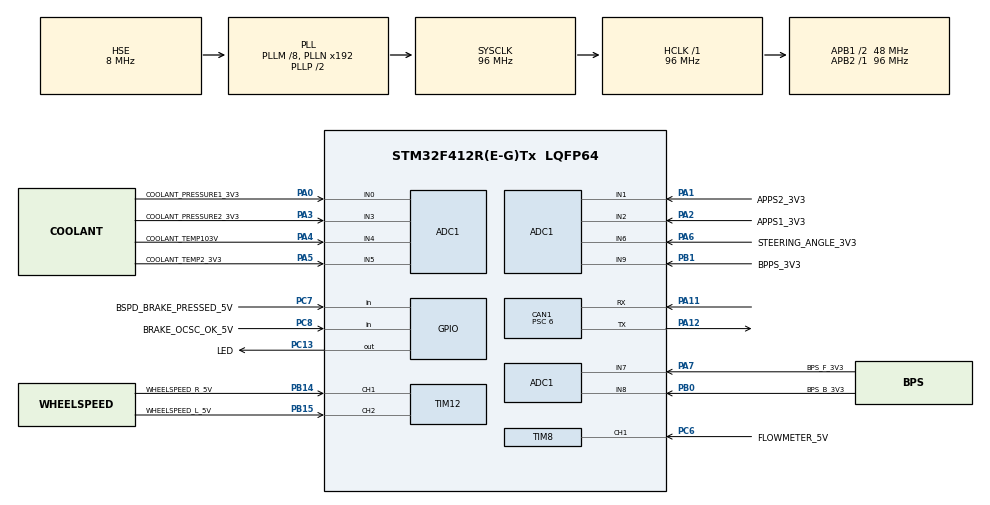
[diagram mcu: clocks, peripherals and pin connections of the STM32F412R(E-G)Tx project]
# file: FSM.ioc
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ADC1.Channel-0\#ChannelRegularConversion=ADC_CHANNEL_0
ADC1.Channel-1\#ChannelRegularConversion=ADC_CHANNEL_1
ADC1.Channel-2\#ChannelRegularConversion=ADC_CHANNEL_2
ADC1.Channel-3\#ChannelRegularConversion=ADC_CHANNEL_3
ADC1.Channel-4\#ChannelRegularConversion=ADC_CHANNEL_4
ADC1.Channel-5\#ChannelRegularConversion=ADC_CHANNEL_5
ADC1.Channel-6\#ChannelRegularConversion=ADC_CHANNEL_6
ADC1.Channel-7\#ChannelRegularConversion=ADC_CHANNEL_7
ADC1.Channel-8\#ChannelRegularConversion=ADC_CHANNEL_8
ADC1.Channel-9\#ChannelRegularConversion=ADC_CHANNEL_9
ADC1.DMAContinuousRequests=ENABLE
ADC1.ExternalTrigConv=ADC_EXTERNALTRIGCONV_T3_TRGO
ADC1.NbrOfConversion=10
ADC1.NbrOfConversionFlag=1
ADC1.Rank-0\#ChannelRegularConversion=1
ADC1.Rank-1\#ChannelRegularConversion=2
ADC1.Rank-2\#ChannelRegularConversion=3
ADC1.Rank-3\#ChannelRegularConversion=4
ADC1.Rank-4\#ChannelRegularConversion=5
ADC1.Rank-5\#ChannelRegularConversion=6
ADC1.Rank-6\#ChannelRegularConversion=7
ADC1.Rank-7\#ChannelRegularConversion=8
ADC1.Rank-8\#ChannelRegularConversion=9
ADC1.Rank-9\#ChannelRegularConversion=10
ADC1.SamplingTime-0\#ChannelRegularConversion=ADC_SAMPLETIME_3CYCLES
ADC1.SamplingTime-1\#ChannelRegularConversion=ADC_SAMPLETIME_3CYCLES
ADC1.SamplingTime-2\#ChannelRegularConversion=ADC_SAMPLETIME_3CYCLES
ADC1.SamplingTime-3\#ChannelRegularConversion=ADC_SAMPLETIME_3CYCLES
ADC1.SamplingTime-4\#ChannelRegularConversion=ADC_SAMPLETIME_3CYCLES
ADC1.SamplingTime-5\#ChannelRegularConversion=ADC_SAMPLETIME_3CYCLES
ADC1.SamplingTime-6\#ChannelRegularConversion=ADC_SAMPLETIME_3CYCLES
ADC1.SamplingTime-7\#ChannelRegularConversion=ADC_SAMPLETIME_3CYCLES
ADC1.SamplingTime-8\#ChannelRegularConversion=ADC_SAMPLETIME_3CYCLES
ADC1.SamplingTime-9\#ChannelRegularConversion=ADC_SAMPLETIME_3CYCLES
ADC1.master=1
CAN1.ABOM=ENABLE
CAN1.BS1=CAN_BS1_13TQ
CAN1.BS2=CAN_BS2_2TQ
CAN1.CalculateBaudRate=500000
CAN1.CalculateTimeBit=2000
CAN1.CalculateTimeQuantum=125.0
CAN1.NART=ENABLE
CAN1.Prescaler=6
CAN1.RFLM=ENABLE
CAN1.SJW=CAN_SJW_4TQ
CAN1.TXFP=ENABLE
Dma.ADC1.0.Direction=DMA_PERIPH_TO_MEMORY
Dma.ADC1.0.FIFOMode=DMA_FIFOMODE_DISABLE
Dma.ADC1.0.Instance=DMA2_Stream0
Dma.ADC1.0.MemDataAlignment=DMA_MDATAALIGN_HALFWORD
Dma.ADC1.0.MemInc=DMA_MINC_ENABLE
Dma.ADC1.0.Mode=DMA_CIRCULAR
Dma.ADC1.0.PeriphDataAlignment=DMA_PDATAALIGN_HALFWORD
Dma.ADC1.0.PeriphInc=DMA_PINC_DISABLE
Dma.ADC1.0.Priority=DMA_PRIORITY_LOW
Dma.Request0=ADC1
FREERTOS.INCLUDE_uxTaskGetStackHighWaterMark=1
FREERTOS.INCLUDE_vTaskDelayUntil=1
FREERTOS.MEMORY_ALLOCATION=1
FREERTOS.Tasks01=Task1kHz,48,512,RunTask1kHz,Default,NULL,Static,Task1kHzBuffer,Task1kHzControlBlock;Task100Hz,40,512,RunTask100Hz,Default,NULL,Static,Task100HzBuffer,Task100HzControlBlock;TaskCanRx,24,512,RunTaskCanRx,Default,NULL,Static,TaskCanRxBuffer,TaskCanRxControlBlock;TaskCanTx,24,512,RunTaskCanTx,Default,NULL,Static,TaskCanTxBuffer,TaskCanTxControlBlock;Task1Hz,32,512,RunTask1Hz,Default,NULL,Static,Task1HzBuffer,Task1HzControlBlock
FREERTOS.configCHECK_FOR_STACK_OVERFLOW=2
FREERTOS.configUSE_NEWLIB_REENTRANT=1
FREERTOS.configUSE_TICK_HOOK=1
FREERTOS.configUSE_TRACE_FACILITY=1
IWDG.Reload=LSI_FREQUENCY / IWDG_PRESCALER / IWDG_RESET_FREQUENCY
Mcu.Family=STM32F4
Mcu.Name=STM32F412R(E-G)Tx
Mcu.Package=LQFP64
Mcu.UserConstants=LSI_FREQUENCY,32000;IWDG_PRESCALER,4;IWDG_RESET_FREQUENCY,5;IWDG_WINDOW_DISABLE_VALUE,4095;IDWG_RESET_FREQUENCY,5;TASK_1HZ_STACK_SIZE,512;TASK_100HZ_STACK_SIZE,512;TASK_1KHZ_STACK_SIZE,512;TASK_CANRX_STACK_SIZE,512;TASK_CANTX_STACK_SIZE,512;TIM8_AUTO_RELOAD_REG,0xFFFF;TIMx_FREQUENCY,96000000;TIM8_PWM_MINIMUM_FREQUENCY,1;ADC_FREQUENCY,1000;TIM8_PRESCALER,(TIMx_FREQUENCY / TIM8_AUTO_RELOAD_REG / TIM8_PWM_MINIMUM_FREQUENCY);TIM12_AUTO_RELOAD_REG,0xFFFF;TIM12_PRESCALER,(TIMx_FREQUENCY / TIM12_AUTO_RELOAD_REG / TIM12_PWM_MINIMUM_FREQUENCY);TIM12_PWM_MINIMUM_FREQUENCY,1;TIM3_PRESCALER,8
NVIC.CAN1_RX0_IRQn=true\:5\:0\:false\:false\:true\:true\:true\:true\:true
NVIC.CAN1_RX1_IRQn=true\:5\:0\:false\:false\:true\:true\:true\:true\:true
NVIC.DMA2_Stream0_IRQn=true\:5\:0\:false\:false\:true\:true\:false\:true\:true
NVIC.PriorityGroup=NVIC_PRIORITYGROUP_4
NVIC.TIM3_IRQn=true\:5\:0\:false\:false\:true\:true\:true\:true\:true
NVIC.TIM6_IRQn=true\:0\:0\:false\:false\:true\:false\:false\:true\:true
NVIC.TIM8_BRK_TIM12_IRQn=true\:5\:0\:false\:false\:true\:true\:true\:true\:true
NVIC.TIM8_CC_IRQn=true\:5\:0\:false\:false\:true\:true\:true\:true\:true
NVIC.TimeBase=TIM6_IRQn
NVIC.TimeBaseIP=TIM6
PA0.GPIO_Label=COOLANT_PRESSURE1_3V3
PA0.Signal=ADCx_IN0
PA1.GPIO_Label=APPS2_3V3
PA1.Signal=ADCx_IN1
PA11.Mode=CAN_Activate
PA11.Signal=CAN1_RX
PA12.Mode=CAN_Activate
PA12.Signal=CAN1_TX
PA13.Mode=Trace_Asynchronous_SW
PA13.Signal=SYS_JTMS-SWDIO
PA14.Mode=Trace_Asynchronous_SW
PA14.Signal=SYS_JTCK-SWCLK
PA2.GPIO_Label=APPS1_3V3
PA2.Signal=ADCx_IN2
PA3.GPIO_Label=COOLANT_PRESSURE2_3V3
PA3.Signal=ADCx_IN3
PA4.GPIO_Label=COOLANT_TEMP103V
PA4.Signal=ADCx_IN4
PA5.GPIO_Label=COOLANT_TEMP2_3V3
PA5.Signal=ADCx_IN5
PA6.GPIO_Label=STEERING_ANGLE_3V3
PA6.Signal=ADCx_IN6
PA7.GPIO_Label=BPS_F_3V3
PA7.Signal=ADCx_IN7
PB0.GPIO_Label=BPS_B_3V3
PB0.Signal=ADCx_IN8
PB1.GPIO_Label=BPPS_3V3
PB1.Signal=ADCx_IN9
PB14.GPIO_Label=WHEELSPEED_R_5V
PB14.Signal=S_TIM12_CH1
PB15.GPIO_Label=WHEELSPEED_L_5V
PB15.Signal=S_TIM12_CH2
PB3.Mode=Trace_Asynchronous_SW
PB3.Signal=SYS_JTDO-SWO
PC13.GPIO_Label=LED
PC13.Signal=GPIO_Output
PC6.GPIO_Label=FLOWMETER_5V
PC6.Signal=S_TIM8_CH1
PC7.GPIO_Label=BSPD_BRAKE_PRESSED_5V
PC7.GPIO_PuPd=GPIO_NOPULL
PC7.Signal=GPIO_Input
PC8.GPIO_Label=BRAKE_OCSC_OK_5V
PC8.Signal=GPIO_Input
PH0\ -\ OSC_IN.Mode=HSE-External-Oscillator
PH0\ -\ OSC_IN.Signal=RCC_OSC_IN
PH1\ -\ OSC_OUT.Mode=HSE-External-Oscillator
PH1\ -\ OSC_OUT.Signal=RCC_OSC_OUT
ProjectManager.HeapSize=0x200
ProjectManager.StackSize=0x400
ProjectManager.TargetToolchain=STM32CubeIDE
RCC.AHBFreq_Value=96000000
RCC.APB1CLKDivider=RCC_HCLK_DIV2
RCC.APB1Freq_Value=48000000
RCC.APB1TimFreq_Value=96000000
RCC.APB2Freq_Value=96000000
RCC.APB2TimFreq_Value=96000000
RCC.CortexFreq_Value=96000000
RCC.HCLKFreq_Value=96000000
RCC.HSE_VALUE=8000000
RCC.PLLM=8
RCC.PLLSourceVirtual=RCC_PLLSOURCE_HSE
RCC.SYSCLKFreq_VALUE=96000000
RCC.SYSCLKSource=RCC_SYSCLKSOURCE_PLLCLK
RCC.USBFreq_Value=96000000
RCC.VCOOutputFreq_Value=192000000
SH.ADCx_IN0.0=ADC1_IN0,IN0
SH.ADCx_IN1.0=ADC1_IN1,IN1
SH.ADCx_IN2.0=ADC1_IN2,IN2
SH.ADCx_IN3.0=ADC1_IN3,IN3
SH.ADCx_IN4.0=ADC1_IN4,IN4
SH.ADCx_IN5.0=ADC1_IN5,IN5
SH.ADCx_IN6.0=ADC1_IN6,IN6
SH.ADCx_IN7.0=ADC1_IN7,IN7
SH.ADCx_IN8.0=ADC1_IN8,IN8
SH.ADCx_IN9.0=ADC1_IN9,IN9
SH.S_TIM12_CH1.0=TIM12_CH1,Input_Capture1_from_TI1
SH.S_TIM12_CH2.0=TIM12_CH2,Input_Capture2_from_TI2
SH.S_TIM8_CH1.0=TIM8_CH1,Input_Capture1_from_TI1
TIM12.Channel-Input_Capture1_from_TI1=TIM_CHANNEL_1
TIM12.Channel-Input_Capture2_from_TI2=TIM_CHANNEL_2
TIM12.Period=TIM12_AUTO_RELOAD_REG
TIM12.Prescaler=TIM12_PRESCALER
TIM3.Period=(TIMx_FREQUENCY / TIM3_PRESCALER / ADC_FREQUENCY) - 1
TIM3.Prescaler=TIM3_PRESCALER - 1 
TIM3.TIM_MasterOutputTrigger=TIM_TRGO_UPDATE
TIM8.Channel-Input_Capture1_from_TI1=TIM_CHANNEL_1
TIM8.Period=TIM8_AUTO_RELOAD_REG
TIM8.Prescaler=TIM8_PRESCALER
VP_FREERTOS_VS_CMSIS_V2.Mode=CMSIS_V2
VP_IWDG_VS_IWDG.Mode=IWDG_Activate
VP_SYS_VS_tim6.Mode=TIM6
VP_TIM3_VS_ClockSourceINT.Mode=Internal
board=custom

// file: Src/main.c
/* USER CODE BEGIN Header */
/**
 ******************************************************************************
 * @file           : main.c
 * @brief          : Main program body
 ******************************************************************************
 * @attention
 *
 * <h2><center>&copy; Copyright (c) 2020 STMicroelectronics.
 * All rights reserved.</center></h2>
 *
 * This software component is licensed by ST under Ultimate Liberty license
 * SLA0044, the "License"; You may not use this file except in compliance with
 * the License. You may obtain a copy of the License at:
 *                             www.st.com/SLA0044
 *
 ******************************************************************************
 */
/* USER CODE END Header */
#include "main.h"
#include "cmsis_os.h"

/* USER CODE BEGIN Includes */
#include "tasks.h"
#include "io_coolant.h"
#include "io_wheels.h"
/* USER CODE END Includes */

typedef StaticTask_t osStaticThreadDef_t;

ADC_HandleTypeDef hadc1;
DMA_HandleTypeDef hdma_adc1;

CAN_HandleTypeDef hcan1;

IWDG_HandleTypeDef hiwdg;

TIM_HandleTypeDef htim3;
TIM_HandleTypeDef htim8;
TIM_HandleTypeDef htim12;

/* Definitions for Task1kHz */
osThreadId_t         Task1kHzHandle;
uint32_t             Task1kHzBuffer[512];
osStaticThreadDef_t  Task1kHzControlBlock;
const osThreadAttr_t Task1kHz_attributes = {
    .name       = "Task1kHz",
    .cb_mem     = &Task1kHzControlBlock,
    .cb_size    = sizeof(Task1kHzControlBlock),
    .stack_mem  = &Task1kHzBuffer[0],
    .stack_size = sizeof(Task1kHzBuffer),
    .priority   = (osPriority_t)osPriorityRealtime,
};
/* Definitions for Task100Hz */
osThreadId_t         Task100HzHandle;
uint32_t             Task100HzBuffer[512];
osStaticThreadDef_t  Task100HzControlBlock;
const osThreadAttr_t Task100Hz_attributes = {
    .name       = "Task100Hz",
    .cb_mem     = &Task100HzControlBlock,
    .cb_size    = sizeof(Task100HzControlBlock),
    .stack_mem  = &Task100HzBuffer[0],
    .stack_size = sizeof(Task100HzBuffer),
    .priority   = (osPriority_t)osPriorityHigh,
};
/* Definitions for TaskCanRx */
osThreadId_t         TaskCanRxHandle;
uint32_t             TaskCanRxBuffer[512];
osStaticThreadDef_t  TaskCanRxControlBlock;
const osThreadAttr_t TaskCanRx_attributes = {
    .name       = "TaskCanRx",
    .cb_mem     = &TaskCanRxControlBlock,
    .cb_size    = sizeof(TaskCanRxControlBlock),
    .stack_mem  = &TaskCanRxBuffer[0],
    .stack_size = sizeof(TaskCanRxBuffer),
    .priority   = (osPriority_t)osPriorityNormal,
};
/* Definitions for TaskCanTx */
osThreadId_t         TaskCanTxHandle;
uint32_t             TaskCanTxBuffer[512];
osStaticThreadDef_t  TaskCanTxControlBlock;
const osThreadAttr_t TaskCanTx_attributes = {
    .name       = "TaskCanTx",
    .cb_mem     = &TaskCanTxControlBlock,
    .cb_size    = sizeof(TaskCanTxControlBlock),
    .stack_mem  = &TaskCanTxBuffer[0],
    .stack_size = sizeof(TaskCanTxBuffer),
    .priority   = (osPriority_t)osPriorityNormal,
};
/* Definitions for Task1Hz */
osThreadId_t         Task1HzHandle;
uint32_t             Task1HzBuffer[512];
osStaticThreadDef_t  Task1HzControlBlock;
const osThreadAttr_t Task1Hz_attributes = {
    .name       = "Task1Hz",
    .cb_mem     = &Task1HzControlBlock,
    .cb_size    = sizeof(Task1HzControlBlock),
    .stack_mem  = &Task1HzBuffer[0],
    .stack_size = sizeof(Task1HzBuffer),
    .priority   = (osPriority_t)osPriorityAboveNormal,
};

void        SystemClock_Config(void);
static void MX_GPIO_Init(void);
static void MX_DMA_Init(void);
static void MX_ADC1_Init(void);
static void MX_CAN1_Init(void);
static void MX_IWDG_Init(void);
static void MX_TIM8_Init(void);
static void MX_TIM12_Init(void);
static void MX_TIM3_Init(void);
void        RunTask1kHz(void *argument);
void        RunTask100Hz(void *argument);
void        RunTaskCanRx(void *argument);
void        RunTaskCanTx(void *argument);
void        RunTask1Hz(void *argument);

int main(void)
{
    /* USER CODE BEGIN 1 */
    tasks_preInit();
    /* USER CODE END 1 */

    /* MCU Configuration--------------------------------------------------------*/

    /* Reset of all peripherals, Initializes the Flash interface and the Systick. */
    HAL_Init();

    /* Configure the system clock */
    SystemClock_Config();

    /* Initialize all configured peripherals */
    MX_GPIO_Init();
    MX_DMA_Init();
    MX_ADC1_Init();
    MX_CAN1_Init();
    MX_IWDG_Init();
    MX_TIM8_Init();
    MX_TIM12_Init();
    MX_TIM3_Init();
    /* USER CODE BEGIN 2 */
    tasks_init();
    /* USER CODE END 2 */

    /* Init scheduler */
    osKernelInitialize();

    /* Create the thread(s) */
    /* creation of Task1kHz */
    Task1kHzHandle = osThreadNew(RunTask1kHz, NULL, &Task1kHz_attributes);

    /* creation of Task100Hz */
    Task100HzHandle = osThreadNew(RunTask100Hz, NULL, &Task100Hz_attributes);

    /* creation of TaskCanRx */
    TaskCanRxHandle = osThreadNew(RunTaskCanRx, NULL, &TaskCanRx_attributes);

    /* creation of TaskCanTx */
    TaskCanTxHandle = osThreadNew(RunTaskCanTx, NULL, &TaskCanTx_attributes);

    /* creation of Task1Hz */
    Task1HzHandle = osThreadNew(RunTask1Hz, NULL, &Task1Hz_attributes);

    /* Start scheduler */
    osKernelStart();

    /* We should never get here as control is now taken by the scheduler */
    /* Infinite loop */
    while (1)
    {

    }
}

void SystemClock_Config(void)
{
    RCC_OscInitTypeDef RCC_OscInitStruct = { 0 };
    RCC_ClkInitTypeDef RCC_ClkInitStruct = { 0 };

    /** Configure the main internal regulator output voltage
     */
    __HAL_RCC_PWR_CLK_ENABLE();
    __HAL_PWR_VOLTAGESCALING_CONFIG(PWR_REGULATOR_VOLTAGE_SCALE1);

    /** Initializes the RCC Oscillators according to the specified parameters
     * in the RCC_OscInitTypeDef structure.
     */
    RCC_OscInitStruct.OscillatorType = RCC_OSCILLATORTYPE_LSI | RCC_OSCILLATORTYPE_HSE;
    RCC_OscInitStruct.HSEState       = RCC_HSE_ON;
    RCC_OscInitStruct.LSIState       = RCC_LSI_ON;
    RCC_OscInitStruct.PLL.PLLState   = RCC_PLL_ON;
    RCC_OscInitStruct.PLL.PLLSource  = RCC_PLLSOURCE_HSE;
    RCC_OscInitStruct.PLL.PLLM       = 8;
    RCC_OscInitStruct.PLL.PLLN       = 192;
    RCC_OscInitStruct.PLL.PLLP       = RCC_PLLP_DIV2;
    RCC_OscInitStruct.PLL.PLLQ       = 2;
    RCC_OscInitStruct.PLL.PLLR       = 2;
    if (HAL_RCC_OscConfig(&RCC_OscInitStruct) != HAL_OK)
    {
        Error_Handler();
    }

    /** Initializes the CPU, AHB and APB buses clocks
     */
    RCC_ClkInitStruct.ClockType = RCC_CLOCKTYPE_HCLK | RCC_CLOCKTYPE_SYSCLK | RCC_CLOCKTYPE_PCLK1 | RCC_CLOCKTYPE_PCLK2;
    RCC_ClkInitStruct.SYSCLKSource   = RCC_SYSCLKSOURCE_PLLCLK;
    RCC_ClkInitStruct.AHBCLKDivider  = RCC_SYSCLK_DIV1;
    RCC_ClkInitStruct.APB1CLKDivider = RCC_HCLK_DIV2;
    RCC_ClkInitStruct.APB2CLKDivider = RCC_HCLK_DIV1;

    if (HAL_RCC_ClockConfig(&RCC_ClkInitStruct, FLASH_LATENCY_3) != HAL_OK)
    {
        Error_Handler();
    }
}

static void MX_ADC1_Init(void)
{

    ADC_ChannelConfTypeDef sConfig = { 0 };

    /** Configure the global features of the ADC (Clock, Resolution, Data Alignment and number of conversion)
     */
    hadc1.Instance                   = ADC1;
    hadc1.Init.ClockPrescaler        = ADC_CLOCK_SYNC_PCLK_DIV4;
    hadc1.Init.Resolution            = ADC_RESOLUTION_12B;
    hadc1.Init.ScanConvMode          = ENABLE;
    hadc1.Init.ContinuousConvMode    = DISABLE;
    hadc1.Init.DiscontinuousConvMode = DISABLE;
    hadc1.Init.ExternalTrigConvEdge  = ADC_EXTERNALTRIGCONVEDGE_RISING;
    hadc1.Init.ExternalTrigConv      = ADC_EXTERNALTRIGCONV_T3_TRGO;
    hadc1.Init.DataAlign             = ADC_DATAALIGN_RIGHT;
    hadc1.Init.NbrOfConversion       = 10;
    hadc1.Init.DMAContinuousRequests = ENABLE;
    hadc1.Init.EOCSelection          = ADC_EOC_SINGLE_CONV;
    if (HAL_ADC_Init(&hadc1) != HAL_OK)
    {
        Error_Handler();
    }

    /** Configure for the selected ADC regular channel its corresponding rank in the sequencer and its sample time.
     */
    sConfig.Channel      = ADC_CHANNEL_0;
    sConfig.Rank         = 1;
    sConfig.SamplingTime = ADC_SAMPLETIME_3CYCLES;
    if (HAL_ADC_ConfigChannel(&hadc1, &sConfig) != HAL_OK)
    {
        Error_Handler();
    }

    /** Configure for the selected ADC regular channel its corresponding rank in the sequencer and its sample time.
     */
    sConfig.Channel = ADC_CHANNEL_1;
    sConfig.Rank    = 2;
    if (HAL_ADC_ConfigChannel(&hadc1, &sConfig) != HAL_OK)
    {
        Error_Handler();
    }

    /** Configure for the selected ADC regular channel its corresponding rank in the sequencer and its sample time.
     */
    sConfig.Channel = ADC_CHANNEL_2;
    sConfig.Rank    = 3;
    if (HAL_ADC_ConfigChannel(&hadc1, &sConfig) != HAL_OK)
    {
        Error_Handler();
    }

    /** Configure for the selected ADC regular channel its corresponding rank in the sequencer and its sample time.
     */
    sConfig.Channel = ADC_CHANNEL_3;
    sConfig.Rank    = 4;
    if (HAL_ADC_ConfigChannel(&hadc1, &sConfig) != HAL_OK)
    {
        Error_Handler();
    }

    /** Configure for the selected ADC regular channel its corresponding rank in the sequencer and its sample time.
     */
    sConfig.Channel = ADC_CHANNEL_4;
    sConfig.Rank    = 5;
    if (HAL_ADC_ConfigChannel(&hadc1, &sConfig) != HAL_OK)
    {
        Error_Handler();
    }

    /** Configure for the selected ADC regular channel its corresponding rank in the sequencer and its sample time.
     */
    sConfig.Channel = ADC_CHANNEL_5;
    sConfig.Rank    = 6;
    if (HAL_ADC_ConfigChannel(&hadc1, &sConfig) != HAL_OK)
    {
        Error_Handler();
    }

    /** Configure for the selected ADC regular channel its corresponding rank in the sequencer and its sample time.
     */
    sConfig.Channel = ADC_CHANNEL_6;
    sConfig.Rank    = 7;
    if (HAL_ADC_ConfigChannel(&hadc1, &sConfig) != HAL_OK)
    {
        Error_Handler();
    }

    /** Configure for the selected ADC regular channel its corresponding rank in the sequencer and its sample time.
     */
    sConfig.Channel = ADC_CHANNEL_7;
    sConfig.Rank    = 8;
    if (HAL_ADC_ConfigChannel(&hadc1, &sConfig) != HAL_OK)
    {
        Error_Handler();
    }

    /** Configure for the selected ADC regular channel its corresponding rank in the sequencer and its sample time.
     */
    sConfig.Channel = ADC_CHANNEL_8;
    sConfig.Rank    = 9;
    if (HAL_ADC_ConfigChannel(&hadc1, &sConfig) != HAL_OK)
    {
        Error_Handler();
    }

    /** Configure for the selected ADC regular channel its corresponding rank in the sequencer and its sample time.
     */
    sConfig.Channel = ADC_CHANNEL_9;
    sConfig.Rank    = 10;
    if (HAL_ADC_ConfigChannel(&hadc1, &sConfig) != HAL_OK)
    {
        Error_Handler();
    }
}

static void MX_CAN1_Init(void)
{

    hcan1.Instance                  = CAN1;
    hcan1.Init.Prescaler            = 6;
    hcan1.Init.Mode                 = CAN_MODE_NORMAL;
    hcan1.Init.SyncJumpWidth        = CAN_SJW_4TQ;
    hcan1.Init.TimeSeg1             = CAN_BS1_13TQ;
    hcan1.Init.TimeSeg2             = CAN_BS2_2TQ;
    hcan1.Init.TimeTriggeredMode    = DISABLE;
    hcan1.Init.AutoBusOff           = ENABLE;
    hcan1.Init.AutoWakeUp           = DISABLE;
    hcan1.Init.AutoRetransmission   = ENABLE;
    hcan1.Init.ReceiveFifoLocked    = ENABLE;
    hcan1.Init.TransmitFifoPriority = ENABLE;
    if (HAL_CAN_Init(&hcan1) != HAL_OK)
    {
        Error_Handler();
    }
}

static void MX_IWDG_Init(void)
{

    hiwdg.Instance       = IWDG;
    hiwdg.Init.Prescaler = IWDG_PRESCALER_4;
    hiwdg.Init.Reload    = LSI_FREQUENCY / IWDG_PRESCALER / IWDG_RESET_FREQUENCY;
    if (HAL_IWDG_Init(&hiwdg) != HAL_OK)
    {
        Error_Handler();
    }
}

static void MX_TIM3_Init(void)
{

    TIM_ClockConfigTypeDef  sClockSourceConfig = { 0 };
    TIM_MasterConfigTypeDef sMasterConfig      = { 0 };

    htim3.Instance               = TIM3;
    htim3.Init.Prescaler         = TIM3_PRESCALER - 1;
    htim3.Init.CounterMode       = TIM_COUNTERMODE_UP;
    htim3.Init.Period            = (TIMx_FREQUENCY / TIM3_PRESCALER / ADC_FREQUENCY) - 1;
    htim3.Init.ClockDivision     = TIM_CLOCKDIVISION_DIV1;
    htim3.Init.AutoReloadPreload = TIM_AUTORELOAD_PRELOAD_DISABLE;
    if (HAL_TIM_Base_Init(&htim3) != HAL_OK)
    {
        Error_Handler();
    }
    sClockSourceConfig.ClockSource = TIM_CLOCKSOURCE_INTERNAL;
    if (HAL_TIM_ConfigClockSource(&htim3, &sClockSourceConfig) != HAL_OK)
    {
        Error_Handler();
    }
    sMasterConfig.MasterOutputTrigger = TIM_TRGO_UPDATE;
    sMasterConfig.MasterSlaveMode     = TIM_MASTERSLAVEMODE_DISABLE;
    if (HAL_TIMEx_MasterConfigSynchronization(&htim3, &sMasterConfig) != HAL_OK)
    {
        Error_Handler();
    }
}

static void MX_TIM8_Init(void)
{

    TIM_MasterConfigTypeDef sMasterConfig = { 0 };
    TIM_IC_InitTypeDef      sConfigIC     = { 0 };

    htim8.Instance               = TIM8;
    htim8.Init.Prescaler         = TIM8_PRESCALER;
    htim8.Init.CounterMode       = TIM_COUNTERMODE_UP;
    htim8.Init.Period            = TIM8_AUTO_RELOAD_REG;
    htim8.Init.ClockDivision     = TIM_CLOCKDIVISION_DIV1;
    htim8.Init.RepetitionCounter = 0;
    htim8.Init.AutoReloadPreload = TIM_AUTORELOAD_PRELOAD_DISABLE;
    if (HAL_TIM_IC_Init(&htim8) != HAL_OK)
    {
        Error_Handler();
    }
    sMasterConfig.MasterOutputTrigger = TIM_TRGO_RESET;
    sMasterConfig.MasterSlaveMode     = TIM_MASTERSLAVEMODE_DISABLE;
    if (HAL_TIMEx_MasterConfigSynchronization(&htim8, &sMasterConfig) != HAL_OK)
    {
        Error_Handler();
    }
    sConfigIC.ICPolarity  = TIM_INPUTCHANNELPOLARITY_RISING;
    sConfigIC.ICSelection = TIM_ICSELECTION_DIRECTTI;
    sConfigIC.ICPrescaler = TIM_ICPSC_DIV1;
    sConfigIC.ICFilter    = 0;
    if (HAL_TIM_IC_ConfigChannel(&htim8, &sConfigIC, TIM_CHANNEL_1) != HAL_OK)
    {
        Error_Handler();
    }
}

static void MX_TIM12_Init(void)
{

    TIM_IC_InitTypeDef sConfigIC = { 0 };

    htim12.Instance               = TIM12;
    htim12.Init.Prescaler         = TIM12_PRESCALER;
    htim12.Init.CounterMode       = TIM_COUNTERMODE_UP;
    htim12.Init.Period            = TIM12_AUTO_RELOAD_REG;
    htim12.Init.ClockDivision     = TIM_CLOCKDIVISION_DIV1;
    htim12.Init.AutoReloadPreload = TIM_AUTORELOAD_PRELOAD_DISABLE;
    if (HAL_TIM_IC_Init(&htim12) != HAL_OK)
    {
        Error_Handler();
    }
    sConfigIC.ICPolarity  = TIM_INPUTCHANNELPOLARITY_RISING;
    sConfigIC.ICSelection = TIM_ICSELECTION_DIRECTTI;
    sConfigIC.ICPrescaler = TIM_ICPSC_DIV1;
    sConfigIC.ICFilter    = 0;
    if (HAL_TIM_IC_ConfigChannel(&htim12, &sConfigIC, TIM_CHANNEL_1) != HAL_OK)
    {
        Error_Handler();
    }
    if (HAL_TIM_IC_ConfigChannel(&htim12, &sConfigIC, TIM_CHANNEL_2) != HAL_OK)
    {
        Error_Handler();
    }
}

static void MX_DMA_Init(void)
{
    /* DMA controller clock enable */
    __HAL_RCC_DMA2_CLK_ENABLE();

    /* DMA interrupt init */
    /* DMA2_Stream0_IRQn interrupt configuration */
    HAL_NVIC_SetPriority(DMA2_Stream0_IRQn, 5, 0);
    HAL_NVIC_EnableIRQ(DMA2_Stream0_IRQn);
}

static void MX_GPIO_Init(void)
{
    GPIO_InitTypeDef GPIO_InitStruct = { 0 };

    /* GPIO Ports Clock Enable */
    __HAL_RCC_GPIOC_CLK_ENABLE();
    __HAL_RCC_GPIOH_CLK_ENABLE();
    __HAL_RCC_GPIOA_CLK_ENABLE();
    __HAL_RCC_GPIOB_CLK_ENABLE();

    /*Configure GPIO pin Output Level */
    HAL_GPIO_WritePin(LED_GPIO_Port, LED_Pin, GPIO_PIN_RESET);

    /*Configure GPIO pin : LED_Pin */
    GPIO_InitStruct.Pin   = LED_Pin;
    GPIO_InitStruct.Mode  = GPIO_MODE_OUTPUT_PP;
    GPIO_InitStruct.Pull  = GPIO_NOPULL;
    GPIO_InitStruct.Speed = GPIO_SPEED_FREQ_LOW;
    HAL_GPIO_Init(LED_GPIO_Port, &GPIO_InitStruct);

    /*Configure GPIO pins : BSPD_BRAKE_PRESSED_5V_Pin BRAKE_OCSC_OK_5V_Pin */
    GPIO_InitStruct.Pin  = BSPD_BRAKE_PRESSED_5V_Pin | BRAKE_OCSC_OK_5V_Pin;
    GPIO_InitStruct.Mode = GPIO_MODE_INPUT;
    GPIO_InitStruct.Pull = GPIO_NOPULL;
    HAL_GPIO_Init(GPIOC, &GPIO_InitStruct);

}

void RunTask1kHz(void *argument)
{
    /* USER CODE BEGIN 5 */
    UNUSED(argument);
    tasks_run1kHz();
    /* USER CODE END 5 */
}

void RunTask100Hz(void *argument)
{
    /* USER CODE BEGIN RunTask100Hz */
    UNUSED(argument);
    tasks_run100Hz();
    /* USER CODE END RunTask100Hz */
}

void RunTaskCanRx(void *argument)
{
    /* USER CODE BEGIN RunTaskCanRx */
    UNUSED(argument);
    tasks_runCanRx();
    /* USER CODE END RunTaskCanRx */
}

void RunTaskCanTx(void *argument)
{
    /* USER CODE BEGIN RunTaskCanTx */
    UNUSED(argument);
    tasks_runCanTx();
    /* USER CODE END RunTaskCanTx */
}

void RunTask1Hz(void *argument)
{
    /* USER CODE BEGIN RunTask1Hz */
    UNUSED(argument);
    tasks_run1Hz();
    /* USER CODE END RunTask1Hz */
}

void HAL_TIM_PeriodElapsedCallback(TIM_HandleTypeDef *htim)
{
    /* USER CODE BEGIN Callback 0 */
    if (htim->Instance == TIM4)
    {
        io_coolant_checkIfFlowMeterActive();
    }
    else if (htim->Instance == TIM12)
    {
        io_wheels_checkIfLeftSensorActive();
    }
    else if (htim->Instance == TIM12)
    {
        io_wheels_checkIfRightSensorActive();
    }
    /* USER CODE END Callback 0 */
    if (htim->Instance == TIM6)
    {
        HAL_IncTick();
    }
}

void Error_Handler(void)
{
    /* USER CODE BEGIN Error_Handler_Debug */
    __assert_func(__FILE__, __LINE__, "Error_Handler", "Error_Handler");
    /* USER CODE END Error_Handler_Debug */
}

#ifdef USE_FULL_ASSERT
/**
 * @brief  Reports the name of the source file and the source line number
 *         where the assert_param error has occurred.
 * @param  file: pointer to the source file name
 * @param  line: assert_param error line source number
 * @retval None
 */
void assert_failed(uint8_t *file, uint32_t line)
{
    /* USER CODE BEGIN 6 */
    __assert_func(file, line, "assert_failed", "assert_failed");
    /* USER CODE END 6 */
}
#endif /* USE_FULL_ASSERT */

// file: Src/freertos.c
/* USER CODE BEGIN Header */
/**
 ******************************************************************************
 * File Name          : freertos.c
 * Description        : Code for freertos applications
 ******************************************************************************
 * @attention
 *
 * <h2><center>&copy; Copyright (c) 2023 STMicroelectronics.
 * All rights reserved.</center></h2>
 *
 * This software component is licensed by ST under Ultimate Liberty license
 * SLA0044, the "License"; You may not use this file except in compliance with
 * the License. You may obtain a copy of the License at:
 *                             www.st.com/SLA0044
 *
 ******************************************************************************
 */
/* USER CODE END Header */

#include "FreeRTOS.h"
#include "main.h"
#include "task.h"

/* Hook prototypes */
void vApplicationTickHook(void);
void vApplicationStackOverflowHook(xTaskHandle xTask, signed char* pcTaskName);

/* USER CODE BEGIN 3 */
__weak void vApplicationTickHook(void)
{
    /* This function will be called by each tick interrupt if
    configUSE_TICK_HOOK is set to 1 in FreeRTOSConfig.h. User code can be
    added here, but the tick hook is called from an interrupt context, so
    code must not attempt to block, and only the interrupt safe FreeRTOS API
    functions can be used (those that end in FromISR()). */
}
/* USER CODE END 3 */

/* USER CODE BEGIN 4 */
__weak void vApplicationStackOverflowHook(xTaskHandle xTask, signed char* pcTaskName)
{
    /* Run time stack overflow checking is performed if
    configCHECK_FOR_STACK_OVERFLOW is defined to 1 or 2. This hook function is
    called if a stack overflow is detected. */
}
/* USER CODE END 4 */
